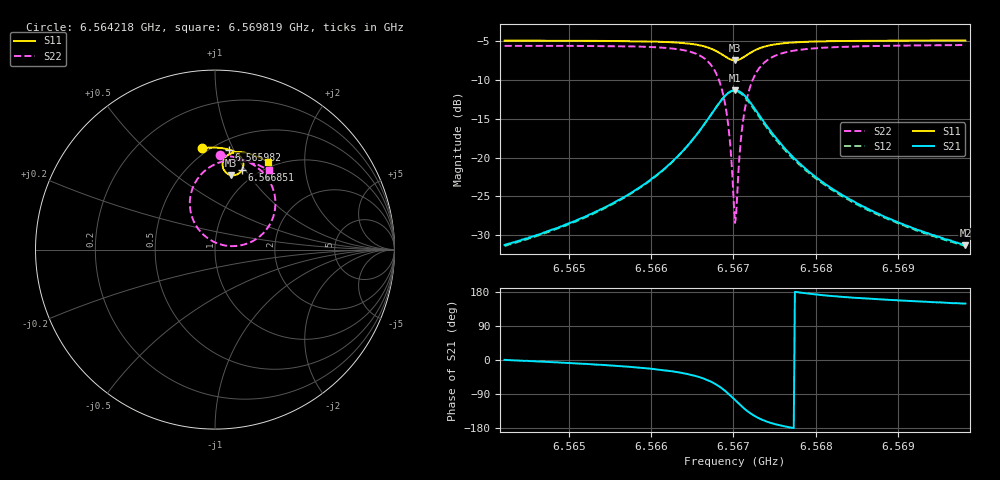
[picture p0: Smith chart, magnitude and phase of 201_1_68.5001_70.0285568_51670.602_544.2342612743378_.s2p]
#  HZ  S  RI  R  50.00
! Rohde & Schwarz Vector Network Analyzer
! Rohde-Schwarz,ZNB20-2Port,1311601062101988,3.16
! Created: UTC 3/20/2024, 4:57:37 PM
! freq[Hz]  re:S11  im:S11  re:S21  im:S21  re:S12  im:S12  re:S22  im:S22
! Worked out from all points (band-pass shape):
!   401 points, 6.564218 GHz to 6.569819 GHz, reference 50 ohm
!   highest |S21| = -11.30 dB at 6.567019 GHz (marker M1); lowest = -31.3 dB at 6.569819 GHz (marker M2)
!   |S21| within 3 dB of the highest: 6.566738 GHz to 6.567298 GHz (560 kHz wide, 0.00853 % of centre)
!   lowest |S11| = -7.4 dB at 6.567019 GHz (marker M3), VSWR 2.48, Z = 40.8 + j41.3 ohm
!   |S11| at or under -10 dB: nowhere
!   |S22| runs from -28.5 to -5.5 dB; largest |S21 - S12| = 0.013
!   S11 on the Smith chart (normalised r, x): 6.564218 GHz: 0.46, +0.77; 6.565982 GHz: 0.59, +0.96; 6.566851 GHz: 0.85, +0.96; 6.569819 GHz: 0.92, +1.33
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6.5642179e9  -0.0733 0.5645  0.0272 0.000157  0.0267 -0.000367  0.0266 0.5259
6.5651562e9  0.0031 0.568  0.0401 -0.00702  0.0393 -0.00747  0.1141 0.5139
6.5659824e9  0.0788 0.5568  0.0656 -0.0275  0.0646 -0.0284  0.2175 0.4706
6.5660944e9  0.0905 0.5529  0.0716 -0.034  0.0703 -0.0348  0.236 0.4575
6.5664025e9  0.1254 0.5342  0.0921 -0.0653  0.0906 -0.0666  0.2947 0.3955
6.5666265e9  0.1509 0.5039  0.1057 -0.1183  0.1032 -0.1205  0.3341 0.2934
6.5667526e9  0.158 0.4736  0.0987 -0.1713  0.0944 -0.1745  0.3271 0.1917
6.5668506e9  0.1497 0.4428  0.0668 -0.224  0.0593 -0.2268  0.2707 0.0933
6.5668926e9  0.1396 0.4301  0.0412 -0.2451  0.0321 -0.2469  0.2238 0.0551
6.5669346e9  0.1251 0.4199  0.00765 -0.2607  -0.00276 -0.2608  0.1627 0.0281
6.5669626e9  0.1134 0.4158  -0.0181 -0.2664  -0.0294 -0.2647  0.1158 0.02
6.5670046e9  0.0941 0.4144  -0.0594 -0.2652  -0.0708 -0.2606  0.0425 0.0256
6.5670186e9  0.0877 0.4154  -0.0731 -0.2622  -0.0842 -0.2565  0.0188 0.0327
6.5670466e9  0.0753 0.4196  -0.0992 -0.2521  -0.1094 -0.2444  -0.0258 0.0538
6.5670886e9  0.0596 0.4307  -0.1324 -0.2284  -0.1405 -0.2187  -0.0805 0.0996
6.5671307e9  0.0489 0.4452  -0.1563 -0.1986  -0.1616 -0.188  -0.1171 0.1548
6.5671867e9  0.0428 0.4664  -0.1729 -0.1569  -0.1748 -0.1463  -0.1387 0.2297
6.5672567e9  0.045 0.4898  -0.1754 -0.1109  -0.1746 -0.1019  -0.1346 0.3097
6.5675088e9  0.0833 0.5329  -0.1331 -0.0246  -0.13 -0.0208  -0.0378 0.4538
6.5679569e9  0.1438 0.5427  -0.0775 0.00824  -0.0756 0.00949  0.0904 0.4986
6.5688951e9  0.2298 0.5211  -0.0376 0.0146  -0.0367 0.015  0.2201 0.4795
6.5698193e9  0.2973 0.4876  -0.0232 0.014  -0.0228 0.0141  0.2991 0.4418
